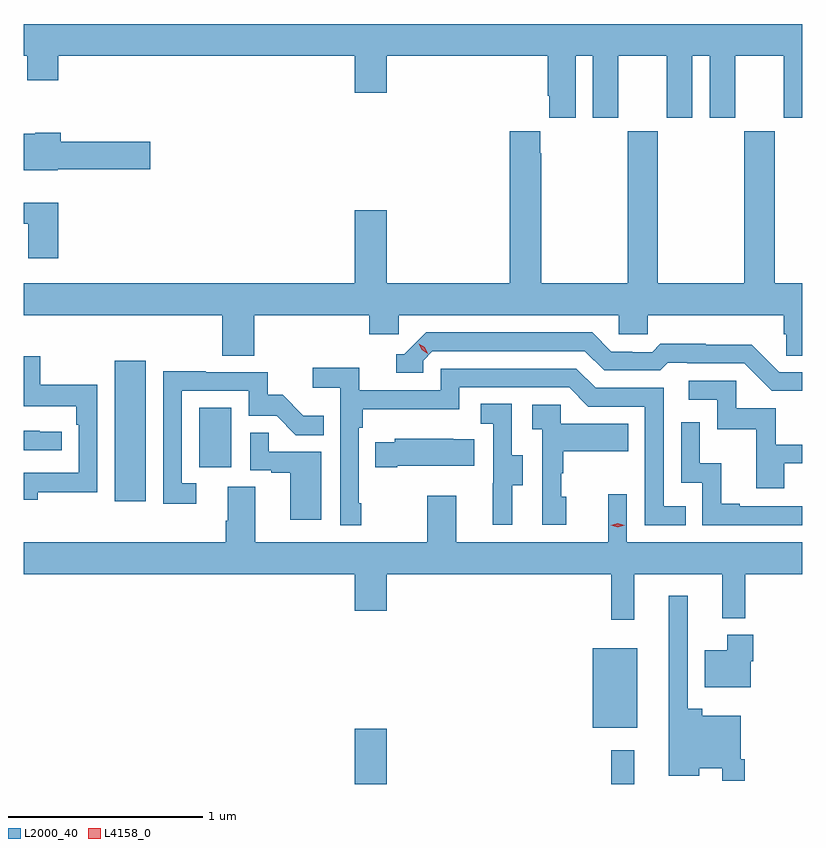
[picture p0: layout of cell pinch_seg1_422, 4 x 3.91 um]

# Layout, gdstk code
import gdstk
lib = gdstk.Library(unit=1e-6, precision=1e-09)
def R(c, l, rs):  # rectangles x0, y0, x1, y1
    for r in rs: c.add(gdstk.rectangle(r[:2], r[2:], *l))
def P(c, l, *ps):  # polygons
    for p in ps: c.add(gdstk.Polygon(p, *l))
L2000_40 = (2000, 40)
L4158_0 = (4158, 0)

pinch_seg1_422 = lib.new_cell('pinch_seg1_422')
R(pinch_seg1_422, L2000_40, [(932.24,536.003,932.404,536.287), (933.559,536.003,933.676,536.176), (933.464,536.291,933.691,536.701), (931.007,537.456,931.168,538.177), (931.442,537.63,931.606,537.937)])
P(pinch_seg1_422, L2000_40, [(933.376,539.744),(933.464,539.744),(933.464,539.427),(933.595,539.427),(933.595,539.744),(933.845,539.744),(933.845,539.427),(933.976,539.427),(933.976,539.744),(934.064,539.744),(934.064,539.427),(934.195,539.427),(934.195,539.744),(934.445,539.744),(934.445,539.427),(934.54,539.427),(934.54,539.908),(930.54,539.908),(930.54,539.744),(930.559,539.744),(930.559,539.62),(930.716,539.62),(930.716,539.744),(932.24,539.744),(932.24,539.556),(932.404,539.556),(932.404,539.744),(933.233,539.744),(933.233,539.539),(933.239,539.539),(933.239,539.427),(933.376,539.427)],
  [(931.724,538.412),(932.315,538.412),(932.315,538.314),(932.466,538.314),(932.466,538.412),(933.597,538.412),(933.597,538.314),(933.747,538.314),(933.747,538.412),(934.445,538.412),(934.445,538.314),(934.459,538.314),(934.459,538.204),(934.54,538.204),(934.54,538.576),(934.398,538.576),(934.398,539.356),(934.243,539.356),(934.243,538.576),(933.798,538.576),(933.798,539.356),(933.643,539.356),(933.643,538.576),(933.198,538.576),(933.198,539.243),(933.193,539.243),(933.193,539.356),(933.038,539.356),(933.038,538.576),(932.404,538.576),(932.404,538.951),(932.24,538.951),(932.24,538.576),(930.54,538.576),(930.54,538.412),(931.559,538.412),(931.559,538.204),(931.724,538.204)],
  [(930.714,539.162),(931.189,539.162),(931.189,539.304),(930.731,539.304),(930.731,539.35),(930.6,539.35),(930.6,539.344),(930.54,539.344),(930.54,539.156),(930.714,539.156)],
  [(930.716,538.99),(930.54,538.99),(930.54,538.881),(930.563,538.881),(930.563,538.704),(930.716,538.704)],
  [(934.54,538.119),(934.422,538.119),(934.28,538.261),(934.044,538.261),(934.044,538.264),(933.811,538.264),(933.769,538.221),(933.666,538.221),(933.666,538.224),(933.559,538.224),(933.46,538.323),(932.607,538.323),(932.496,538.212),(932.453,538.212),(932.453,538.116),(932.592,538.116),(932.592,538.179),(932.64,538.227),(933.423,538.227),(933.522,538.128),(933.811,538.128),(933.85,538.167),(933.949,538.167),(933.949,538.164),(934.242,538.164),(934.383,538.023),(934.54,538.023)],
  [(930.613,537.502),(930.918,537.502),(930.918,538.054),(930.625,538.054),(930.625,538.2),(930.54,538.2),(930.54,537.944),(930.809,537.944),(930.809,537.848),(930.822,537.848),(930.822,537.603),(930.54,537.603),(930.54,537.464),(930.613,537.464)],
  [(932.275,537.445),(932.262,537.445),(932.262,537.833),(932.282,537.833),(932.282,537.929),(932.778,537.929),(932.778,538.041),(933.342,538.041),(933.441,537.942),(933.732,537.942),(933.732,537.333),(933.941,537.333),(933.941,537.429),(933.828,537.429),(933.828,538.038),(933.478,538.038),(933.379,538.137),(932.682,538.137),(932.682,538.026),(932.264,538.026),(932.264,538.142),(932.025,538.142),(932.025,538.04),(932.166,538.04),(932.166,537.333),(932.275,537.333)],
  [(931.426,537.549),(931.353,537.549),(931.353,538.023),(931.695,538.023),(931.695,537.894),(931.839,537.894),(931.937,537.796),(932.081,537.796),(932.081,537.895),(931.977,537.895),(931.87,538.002),(931.794,538.002),(931.794,538.119),(931.475,538.119),(931.475,538.124),(931.257,538.124),(931.257,537.444),(931.426,537.444)],
  [(934.447,537.651),(934.54,537.651),(934.54,537.747),(934.405,537.747),(934.405,537.933),(934.2,537.933),(934.2,538.074),(933.957,538.074),(933.957,537.978),(934.104,537.978),(934.104,537.825),(934.303,537.825),(934.303,537.522),(934.447,537.522)],
  [(933.049,537.538),(933.103,537.538),(933.103,537.693),(933.048,537.693),(933.048,537.956),(932.889,537.956),(932.889,537.853),(932.952,537.853),(932.952,537.549),(932.951,537.549),(932.951,537.336),(933.049,537.336)],
  [(933.328,537.48),(933.303,537.48),(933.303,537.599),(933.313,537.599),(933.313,537.713),(933.647,537.713),(933.647,537.853),(933.3,537.853),(933.3,537.951),(933.153,537.951),(933.153,537.827),(933.204,537.827),(933.204,537.336),(933.328,537.336)],
  [(934.54,537.429),(934.219,537.429),(934.219,537.442),(934.124,537.442),(934.124,537.65),(934.014,537.65),(934.014,537.862),(933.918,537.862),(933.918,537.552),(934.026,537.552),(934.026,537.333),(934.54,537.333)],
  [(930.736,537.813),(930.623,537.813),(930.623,537.818),(930.54,537.818),(930.54,537.717),(930.736,537.717)],
  [(932.068,537.711),(931.799,537.711),(931.799,537.809),(931.704,537.809),(931.704,537.615),(931.811,537.615),(931.811,537.603),(931.91,537.603),(931.91,537.36),(932.068,537.36)],
  [(932.458,537.638),(932.855,537.638),(932.855,537.775),(932.747,537.775),(932.747,537.778),(932.445,537.778),(932.445,537.76),(932.347,537.76),(932.347,537.631),(932.458,537.631)],
  [(933.677,537.08),(934.13,537.08),(934.13,536.855),(934.247,536.855),(934.247,537.08),(934.54,537.08),(934.54,537.244),(933.639,537.244),(933.639,537.493),(933.542,537.493),(933.542,537.244),(932.761,537.244),(932.761,537.484),(932.614,537.484),(932.614,537.244),(931.729,537.244),(931.729,537.53),(931.589,537.53),(931.589,537.356),(931.577,537.356),(931.577,537.244),(930.54,537.244),(930.54,537.08),(932.24,537.08),(932.24,536.892),(932.404,536.892),(932.404,537.08),(933.559,537.08),(933.559,536.847),(933.677,536.847)],
  [(934.244,536.131),(934.224,536.131),(934.224,536.353),(934.025,536.353),(934.025,536.389),(933.951,536.389),(933.951,536.971),(933.854,536.971),(933.854,536.045),(934.012,536.045),(934.012,536.084),(934.128,536.084),(934.128,536.019),(934.244,536.019)],
  [(934.276,536.634),(934.289,536.634),(934.289,536.77),(934.154,536.77),(934.154,536.689),(934.04,536.689),(934.04,536.501),(934.276,536.501)])
P(pinch_seg1_422, L4158_0, [(933.592,537.323),(933.557,537.333),(933.557,537.333),(933.557,537.333),(933.592,537.343),(933.627,537.333),(933.627,537.333),(933.627,537.333)],
  [(932.616,538.213),(932.585,538.233),(932.57,538.265),(932.57,538.266),(932.57,538.266),(932.6,538.246),(932.616,538.213),(932.616,538.213)])

lib.write_gds('pinch_seg1_422.gds')
